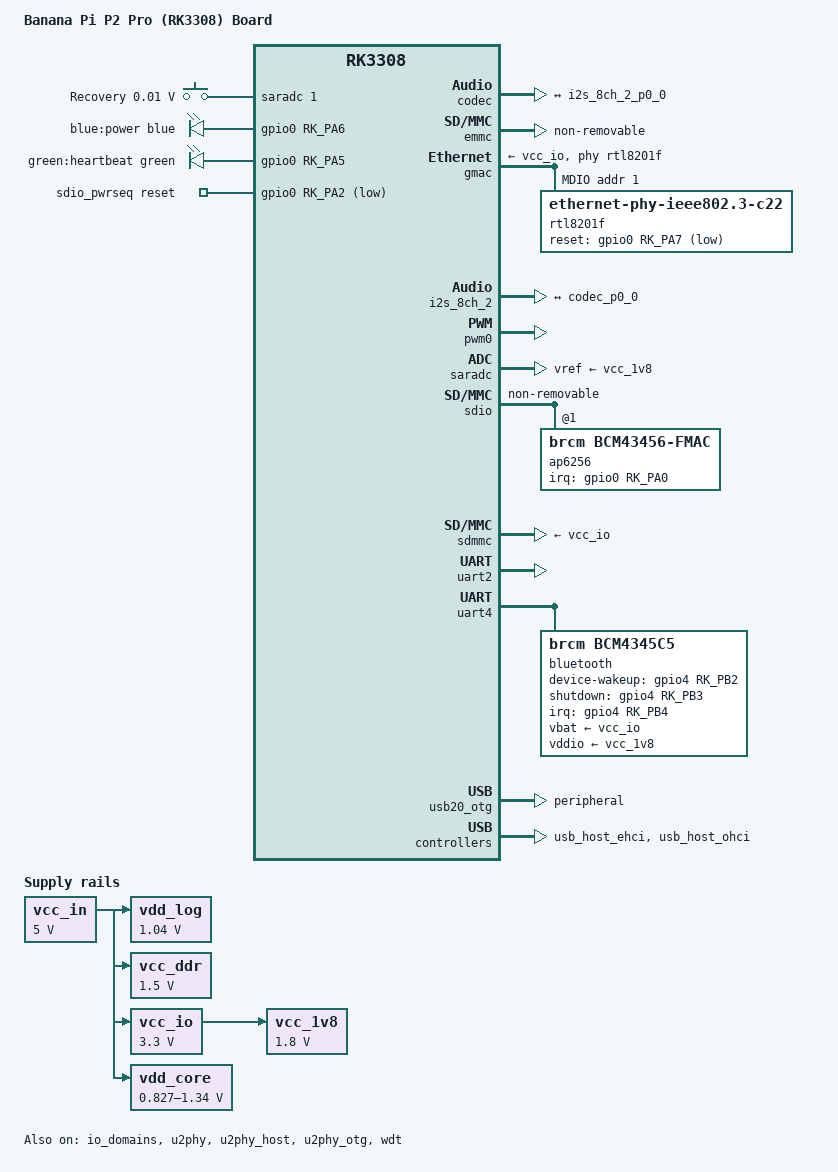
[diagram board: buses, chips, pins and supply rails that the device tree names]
// SPDX-License-Identifier: (GPL-2.0+ OR MIT)

/dts-v1/;

#include <dt-bindings/input/input.h>
#include <dt-bindings/leds/common.h>
#include "rk3308.dtsi"

/ {
	model = "Banana Pi P2 Pro (RK3308) Board";
	compatible = "sinovoip,rk3308-bpi-p2pro", "rockchip,rk3308";

	aliases {
		ethernet0 = &gmac;
		mmc0 = &emmc;
		mmc1 = &sdmmc;
		mmc2 = &sdio;
	};

	chosen {
		stdout-path = "serial2:1500000n8";
	};

	adc-keys {
		compatible = "adc-keys";
		io-channels = <&saradc 1>;
		io-channel-names = "buttons";
		keyup-threshold-microvolt = <1800000>;
		poll-interval = <100>;

		button-recovery {
			label = "Recovery";
			linux,code = <KEY_VENDOR>;
			press-threshold-microvolt = <10000>;
		};
	};

	analog-sound {
		compatible = "audio-graph-card";
		label = "rockchip,rk3308";

		dais = <&i2s_8ch_2_p0>;
		pinctrl-names = "default";
		pinctrl-0 = <&phone_ctl>;
	};

	leds {
		compatible = "gpio-leds";
		pinctrl-names = "default";
		pinctrl-0 = <&led_en0>, <&led_en1>;

		blue-led {
			color = <LED_COLOR_ID_BLUE>;
			default-state = "on";
			function = LED_FUNCTION_POWER;
			gpios = <&gpio0 RK_PA6 GPIO_ACTIVE_HIGH>;
			label = "blue:power";
			linux,default-trigger = "default-on";
		};

		green-led {
			color = <LED_COLOR_ID_GREEN>;
			default-state = "on";
			function = LED_FUNCTION_HEARTBEAT;
			gpios = <&gpio0 RK_PA5 GPIO_ACTIVE_HIGH>;
			label = "green:heartbeat";
			linux,default-trigger = "heartbeat";
		};
	};

	vdd_log: regulator-1v04-vdd-log {
		compatible = "regulator-fixed";
		regulator-name = "vdd_log";
		regulator-always-on;
		regulator-boot-on;
		regulator-min-microvolt = <1040000>;
		regulator-max-microvolt = <1040000>;
		vin-supply = <&vcc_in>;
	};

	vcc_ddr: regulator-1v5-vcc-ddr {
		compatible = "regulator-fixed";
		regulator-name = "vcc_ddr";
		regulator-always-on;
		regulator-boot-on;
		regulator-min-microvolt = <1500000>;
		regulator-max-microvolt = <1500000>;
		vin-supply = <&vcc_in>;
	};

	vcc_1v8: regulator-1v8-vcc {
		compatible = "regulator-fixed";
		regulator-name = "vcc_1v8";
		regulator-always-on;
		regulator-boot-on;
		regulator-min-microvolt = <1800000>;
		regulator-max-microvolt = <1800000>;
		vin-supply = <&vcc_io>;
	};

	vcc_io: regulator-3v3-vcc-io {
		compatible = "regulator-fixed";
		regulator-name = "vcc_io";
		regulator-always-on;
		regulator-boot-on;
		regulator-min-microvolt = <3300000>;
		regulator-max-microvolt = <3300000>;
		vin-supply = <&vcc_in>;
	};

	vcc_in: regulator-5v0-vcc-in {
		compatible = "regulator-fixed";
		regulator-name = "vcc_in";
		regulator-always-on;
		regulator-boot-on;
		regulator-min-microvolt = <5000000>;
		regulator-max-microvolt = <5000000>;
	};

	vdd_core: regulator-vdd-core {
		compatible = "pwm-regulator";
		pwms = <&pwm0 0 5000 1>;
		pwm-supply = <&vcc_in>;
		regulator-name = "vdd_core";
		regulator-always-on;
		regulator-boot-on;
		regulator-min-microvolt = <827000>;
		regulator-max-microvolt = <1340000>;
		regulator-settling-time-up-us = <250>;
	};

	sdio_pwrseq: sdio-pwrseq {
		compatible = "mmc-pwrseq-simple";
		pinctrl-0 = <&wifi_reg_on>;
		pinctrl-names = "default";
		reset-gpios = <&gpio0 RK_PA2 GPIO_ACTIVE_LOW>;
	};
};

&codec {
	status = "okay";

	port {
		codec_p0_0: endpoint {
			remote-endpoint = <&i2s_8ch_2_p0_0>;
		};
	};
};

&cpu0 {
	cpu-supply = <&vdd_core>;
};

&emmc {
	cap-mmc-highspeed;
	mmc-hs200-1_8v;
	no-sd;
	no-sdio;
	non-removable;
	pinctrl-names = "default";
	pinctrl-0 = <&emmc_bus8 &emmc_clk &emmc_cmd &emmc_pwren>;
	status = "okay";
};

&gmac {
	assigned-clocks = <&cru SCLK_MAC>;
	assigned-clock-parents = <&mac_clkin>;
	clock_in_out = "input";
	phy-handle = <&rtl8201f>;
	phy-supply = <&vcc_io>;
	status = "okay";

	mdio {
		#address-cells = <1>;
		#size-cells = <0>;
		compatible = "snps,dwmac-mdio";

		rtl8201f: ethernet-phy@1 {
			compatible = "ethernet-phy-ieee802.3-c22";
			reg = <1>;
			pinctrl-names = "default";
			pinctrl-0 = <&mac_rst>;
			reset-assert-us = <50000>;
			reset-deassert-us = <50000>;
			reset-gpios = <&gpio0 RK_PA7 GPIO_ACTIVE_LOW>;
		};
	};
};

&i2s_8ch_2 {
	#sound-dai-cells = <0>;
	status = "okay";

	i2s_8ch_2_p0: port {
		i2s_8ch_2_p0_0: endpoint {
			dai-format = "i2s";
			mclk-fs = <256>;
			remote-endpoint = <&codec_p0_0>;
		};
	};
};

&io_domains {
	vccio0-supply = <&vcc_io>;
	vccio1-supply = <&vcc_io>;
	vccio2-supply = <&vcc_io>;
	vccio3-supply = <&vcc_io>;
	vccio4-supply = <&vcc_1v8>;
	vccio5-supply = <&vcc_io>;
	status = "okay";
};

&pinctrl {
	pinctrl-names = "default";
	pinctrl-0 = <&rtc_32k>;

	bt {
		bt_reg_on: bt-reg-on {
			rockchip,pins = <4 RK_PB3 RK_FUNC_GPIO &pcfg_pull_none>;
		};

		bt_wake_host: bt-wake-host {
			rockchip,pins = <4 RK_PB4 RK_FUNC_GPIO &pcfg_pull_none>;
		};

		host_wake_bt: host-wake-bt {
			rockchip,pins = <4 RK_PB2 RK_FUNC_GPIO &pcfg_pull_none>;
		};
	};

	gmac {
		mac_rst: mac-rst {
			rockchip,pins = <0 RK_PA7 RK_FUNC_GPIO &pcfg_pull_none>;
		};
	};

	leds {
		led_en0: led-en0 {
			rockchip,pins = <0 RK_PA5 RK_FUNC_GPIO &pcfg_pull_none>;
		};

		led_en1: led-en1 {
			rockchip,pins = <0 RK_PA6 RK_FUNC_GPIO &pcfg_pull_none>;
		};
	};

	sound {
		phone_ctl: phone-ctl {
			rockchip,pins = <0 RK_PA1 RK_FUNC_GPIO &pcfg_pull_none>;
		};
	};

	wifi {
		wifi_reg_on: wifi-reg-on {
			rockchip,pins = <0 RK_PA2 RK_FUNC_GPIO &pcfg_pull_none>;
		};

		wifi_wake_host: wifi-wake-host {
			rockchip,pins = <0 RK_PA0 RK_FUNC_GPIO &pcfg_pull_down>;
		};
	};
};

&pwm0 {
	pinctrl-names = "default";
	pinctrl-0 = <&pwm0_pin_pull_down>;
	status = "okay";
};

&saradc {
	vref-supply = <&vcc_1v8>;
	status = "okay";
};

/* WIFI part of the AP6256 connected with SDIO */
&sdio {
	#address-cells = <1>;
	#size-cells = <0>;
	cap-sd-highspeed;
	cap-sdio-irq;
	disable-wp;
	keep-power-in-suspend;
	mmc-pwrseq = <&sdio_pwrseq>;
	no-mmc;
	no-sd;
	non-removable;
	sd-uhs-sdr104;
	status = "okay";

	ap6256: wifi@1 {
		compatible = "brcm,bcm43456-fmac", "brcm,bcm4329-fmac";
		reg = <1>;
		interrupt-parent = <&gpio0>;
		interrupts = <RK_PA0 IRQ_TYPE_LEVEL_HIGH>;
		interrupt-names = "host-wake";
		pinctrl-names = "default";
		pinctrl-0 = <&wifi_wake_host>;
	};
};

&sdmmc {
	cap-mmc-highspeed;
	cap-sd-highspeed;
	disable-wp;
	vmmc-supply = <&vcc_io>;
	status = "okay";
};

&u2phy {
	status = "okay";
};

&u2phy_host {
	status = "okay";
};

&u2phy_otg {
	status = "okay";
};

&uart2 {
	status = "okay";
};

/* BT part of the AP6256 connected with UART */
&uart4 {
	uart-has-rtscts;
	status = "okay";

	bluetooth {
		compatible = "brcm,bcm4345c5";
		clocks = <&cru SCLK_RTC32K>;
		clock-names = "lpo";
		interrupt-parent = <&gpio4>;
		interrupts = <RK_PB4 IRQ_TYPE_LEVEL_HIGH>;
		interrupt-names = "host-wakeup";
		device-wakeup-gpios = <&gpio4 RK_PB2 GPIO_ACTIVE_HIGH>;
		shutdown-gpios = <&gpio4 RK_PB3 GPIO_ACTIVE_HIGH>;
		max-speed = <1500000>;
		pinctrl-names = "default";
		pinctrl-0 = <&bt_reg_on &bt_wake_host &host_wake_bt>;
		vbat-supply = <&vcc_io>;
		vddio-supply = <&vcc_1v8>;
	};
};

&usb20_otg {
	dr_mode = "peripheral";
	status = "okay";
};

&usb_host_ehci {
	status = "okay";
};

&usb_host_ohci {
	status = "okay";
};

&wdt {
	status = "okay";
};
